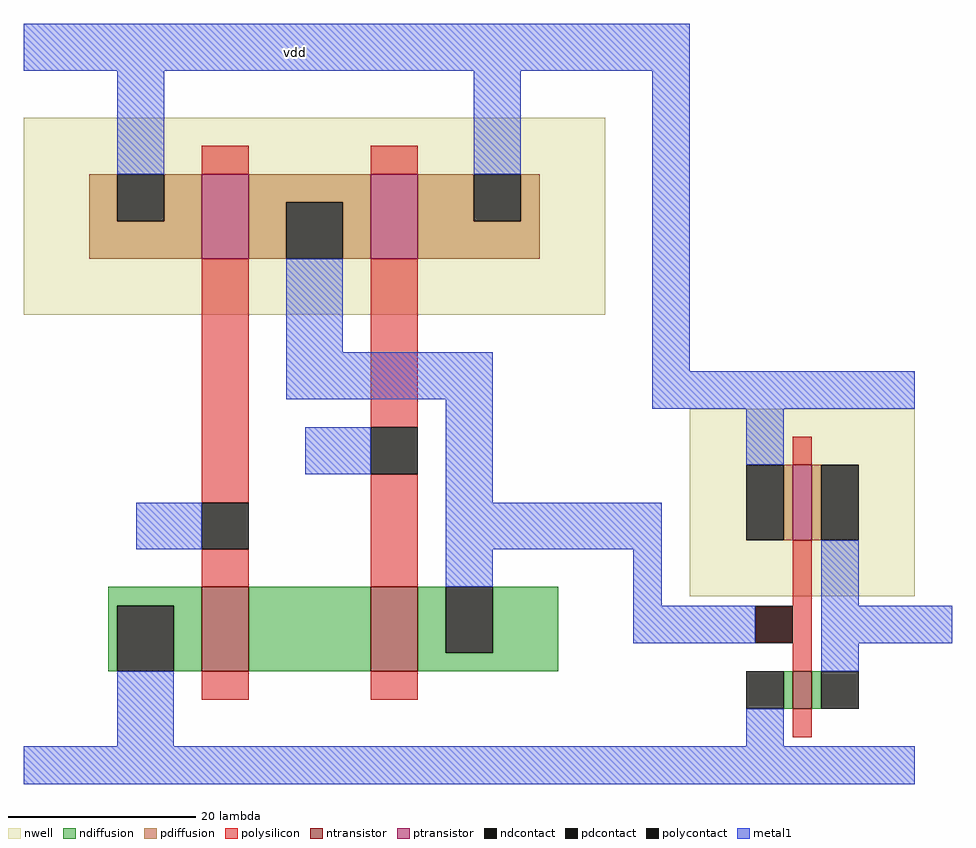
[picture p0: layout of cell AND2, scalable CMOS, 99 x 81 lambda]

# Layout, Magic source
magic
tech scmos
<< nwell >>
rect -25 -10 37 11
<< ntransistor >>
rect -6 -48 -1 -39
rect 12 -48 17 -39
<< ptransistor >>
rect -6 -4 -1 5
rect 12 -4 17 5
<< ndiffusion >>
rect -16 -41 -6 -39
rect -16 -48 -15 -41
rect -9 -48 -6 -41
rect -1 -48 12 -39
rect 17 -46 20 -39
rect 25 -46 32 -39
rect 17 -48 32 -46
<< pdiffusion >>
rect -18 0 -15 5
rect -10 0 -6 5
rect -18 -4 -6 0
rect -1 2 12 5
rect -1 -4 3 2
rect 9 -4 12 2
rect 17 0 23 5
rect 28 0 30 5
rect 17 -4 30 0
<< ndcontact >>
rect -15 -48 -9 -41
rect 20 -46 25 -39
<< pdcontact >>
rect -15 0 -10 5
rect 3 -4 9 2
rect 23 0 28 5
<< polysilicon >>
rect -6 5 -1 8
rect 12 5 17 8
rect -6 -30 -1 -4
rect -6 -39 -1 -35
rect 12 -22 17 -4
rect 12 -39 17 -27
rect 53 -45 57 -41
rect -6 -51 -1 -48
rect 12 -51 17 -48
<< polycontact >>
rect -6 -35 -1 -30
rect 12 -27 17 -22
<< metal1 >>
rect -25 16 46 21
rect -15 5 -10 16
rect 23 5 28 16
rect 3 -14 9 -4
rect 3 -19 25 -14
rect 5 -27 12 -22
rect 20 -30 25 -19
rect 42 -20 46 16
rect -13 -35 -6 -30
rect 20 -35 43 -30
rect 20 -39 25 -35
rect 40 -41 43 -35
rect 40 -45 42 -41
rect -15 -56 -9 -48
rect -25 -60 46 -56
use NOTNOT  NOTNOT_0
transform 1 0 46 0 1 -40
box -4 -20 28 24
<< labels >>
rlabel metal1 4 18 4 18 5 vdd
<< end >>

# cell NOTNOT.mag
magic
tech scmos
<< nwell >>
rect 0 0 24 20
<< ntransistor >>
rect 11 -12 13 -8
<< ptransistor >>
rect 11 6 13 14
<< ndiffusion >>
rect 10 -12 11 -8
rect 13 -12 14 -8
<< pdiffusion >>
rect 10 6 11 14
rect 13 6 14 14
<< ndcontact >>
rect 6 -12 10 -8
rect 14 -12 18 -8
<< pdcontact >>
rect 6 6 10 14
rect 14 6 18 14
<< polysilicon >>
rect 11 14 13 17
rect 11 -8 13 6
rect 11 -15 13 -12
<< polycontact >>
rect 7 -5 11 -1
<< metal1 >>
rect 0 20 24 24
rect 6 14 10 20
rect 14 -1 18 6
rect -4 -5 7 -1
rect 14 -5 28 -1
rect 14 -8 18 -5
rect 6 -16 10 -12
rect 0 -20 24 -16
<< labels >>
rlabel metal1 0 20 24 24 5 vdd
rlabel metal1 0 -20 24 -16 1 gnd
<< end >>
